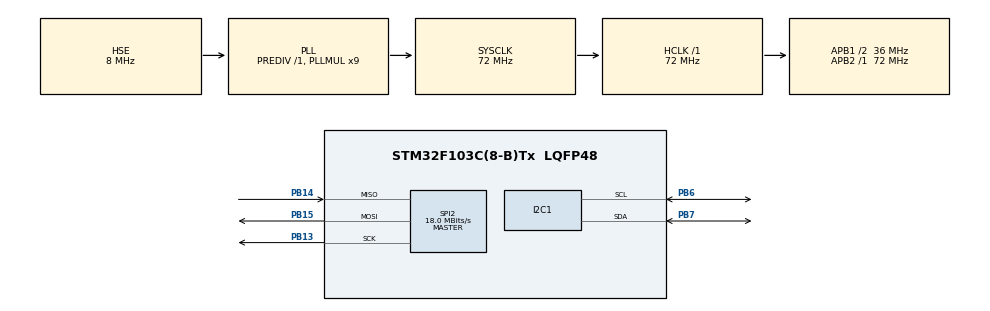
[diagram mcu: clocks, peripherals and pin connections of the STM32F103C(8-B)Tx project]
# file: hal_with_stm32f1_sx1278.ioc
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Mcu.Family=STM32F1
Mcu.Name=STM32F103C(8-B)Tx
Mcu.Package=LQFP48
NVIC.PriorityGroup=NVIC_PRIORITYGROUP_4
PB13.Mode=Full_Duplex_Master
PB13.Signal=SPI2_SCK
PB14.Mode=Full_Duplex_Master
PB14.Signal=SPI2_MISO
PB15.Mode=Full_Duplex_Master
PB15.Signal=SPI2_MOSI
PB6.Mode=I2C
PB6.Signal=I2C1_SCL
PB7.Mode=I2C
PB7.Signal=I2C1_SDA
PD0-OSC_IN.Mode=HSE-External-Oscillator
PD0-OSC_IN.Signal=RCC_OSC_IN
PD1-OSC_OUT.Mode=HSE-External-Oscillator
PD1-OSC_OUT.Signal=RCC_OSC_OUT
ProjectManager.HeapSize=0x200
ProjectManager.StackSize=0x400
ProjectManager.TargetToolchain=STM32CubeIDE
RCC.AHBFreq_Value=72000000
RCC.APB1CLKDivider=RCC_HCLK_DIV2
RCC.APB1Freq_Value=36000000
RCC.APB1TimFreq_Value=72000000
RCC.APB2Freq_Value=72000000
RCC.APB2TimFreq_Value=72000000
RCC.HCLKFreq_Value=72000000
RCC.PLLMUL=RCC_PLL_MUL9
RCC.PLLSourceVirtual=RCC_PLLSOURCE_HSE
RCC.SYSCLKFreq_VALUE=72000000
RCC.SYSCLKSource=RCC_SYSCLKSOURCE_PLLCLK
RCC.USBFreq_Value=72000000
SPI2.CalculateBaudRate=18.0 MBits/s
SPI2.Direction=SPI_DIRECTION_2LINES
SPI2.Mode=SPI_MODE_MASTER
SPI2.VirtualType=VM_MASTER
VP_SYS_VS_ND.Mode=No_Debug
board=custom

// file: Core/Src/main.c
/* USER CODE BEGIN Header */
/**
  ******************************************************************************
  * @file           : main.c
  * @brief          : Main program body
  ******************************************************************************
  * @attention
  *
  * Copyright (c) 2024 STMicroelectronics.
  * All rights reserved.
  *
  * This software is licensed under terms that can be found in the LICENSE file
  * in the root directory of this software component.
  * If no LICENSE file comes with this software, it is provided AS-IS.
  *
  ******************************************************************************
  */
/* USER CODE END Header */
#include "main.h"

/* USER CODE BEGIN Includes */
#include "gpio.h"
#include "SX1278_HW.h"
#include "sx1278.h"
#include <stdio.h>
#include "send.h"
#include "mpu6050.h"
#include "MadgwickAHRS.h"
#include <math.h>

/* USER CODE END Includes */

I2C_HandleTypeDef hi2c1;

SPI_HandleTypeDef hspi2;

void SystemClock_Config(void);

static void MX_SPI2_Init(void);
static void MX_I2C1_Init(void);

/* USER CODE BEGIN 0 */

SX1278_hw_t SX1278_hw;
SX1278_t SX1278;
extern float mpu6050_gf[3];
extern float mpu6050_af[3];

typedef struct
{

	int master;
	int ret;
	int message;

	int message_length;

	int messageTwo;
	int messageThree;

	char buffer[512];
	float Yaw_m,Pitch_m,Roll_m;

}Send;

Send sent;

/* USER CODE END 0 */

int main(void)
{

  /* MCU Configuration--------------------------------------------------------*/

  /* Reset of all peripherals, Initializes the Flash interface and the Systick. */
  HAL_Init();

  /* Configure the system clock */
  SystemClock_Config();

  /* Initialize all configured peripherals */
  MX_GPIO_Init();
  MX_SPI2_Init();
  MX_I2C1_Init();
  /* USER CODE BEGIN 2 */
  initUART1();

  char buf[512];

  HAL_Delay(5000);
  SendKyTu(buf, "Mode: Master");

  /*init lora module*/

  SX1278_hw.dio0.port = DIO0_GPIO_Port;
  SX1278_hw.dio0.pin=DIO0_Pin;
  SX1278_hw.nss.port=NSS_GPIO_Port;
  SX1278_hw.nss.pin=NSS_Pin;
  SX1278_hw.reset.port=RESET_GPIO_Port;
  SX1278_hw.reset.pin=RESET_Pin;
  SX1278_hw.spi= &hspi2;

  /*con tro tro den dia chi */

  SX1278.hw= &SX1278_hw;

  HAL_Delay(3000);
  SendKyTu(buf, "Configuring lora module");
  SX1278_init(&SX1278, 434000000, SX1278_POWER_17DBM, SX1278_LORA_SF_7,
  SX1278_LORA_BW_125KHZ, SX1278_LORA_CR_4_5, SX1278_LORA_CRC_EN, 10);

  HAL_Delay(3000);
  SendKyTu(buf, "Done configure lora module");

  sent.ret = SX1278_LoRaEntryTx(&SX1278, 16, 2000);
  sent.message=0;
  sent.messageTwo=0;
  sent.messageThree=0;
  mpu6050_init();

  /* USER CODE END 2 */

  /* Infinite loop */
  /* USER CODE BEGIN WHILE */
  while (1)
  {
	  mpu6050_getgyrodata();
	  mpu6050_getacceldata();
	  MadgwickAHRSupdateIMU(mpu6050_gf[0],mpu6050_gf[1],mpu6050_gf[2],mpu6050_af[0],mpu6050_af[1],mpu6050_af[2]);

	  sent.Pitch_m=100*(-asin (2*(q1*q3 - q0*q2)));
	  sent.Yaw_m=100* atan2(2 * q1 * q2 + 2 * q0 * q3,2 * q0 * q0 + 2 * q1 * q1-1);
	  sent.Roll_m=100*atan2(2 * q2 * q3 + 2 * q0 * q1, 2 * q0 * q0 + 2 * q3 * q3 - 1);

	  //SendKyTu(buf, "Mastering...");
	  HAL_Delay(100);
	  //SendKyTu(buf, "Sending packet...");
	  sent.message_length = sprintf(sent.buffer, "p %d y %d r %d", (int)sent.Pitch_m,(int)sent.Yaw_m,(int)sent.Roll_m);
	  sent.ret = SX1278_LoRaEntryTx(&SX1278, sent.message_length, 2000);

	  //sendNumberAndChu(buf, "entry: ", sent.ret);
	  //SendKyTu(buf, sent.buffer);
	  sent.ret = SX1278_LoRaTxPacket(&SX1278, (uint8_t*) sent.buffer,
	  					sent.message_length, 2000);
//	  sent.message+=1;
//	  sent.messageTwo+=1;
//	  sent.messageThree+=1;
	  //sendNumberAndChu(buf, "Transmission: ", sent.ret);
	  //SendKyTu(buf, "package sending...");

    /* USER CODE END WHILE */

  }
}

void SystemClock_Config(void)
{
  RCC_OscInitTypeDef RCC_OscInitStruct = {0};
  RCC_ClkInitTypeDef RCC_ClkInitStruct = {0};

  /** Initializes the RCC Oscillators according to the specified parameters
  * in the RCC_OscInitTypeDef structure.
  */
  RCC_OscInitStruct.OscillatorType = RCC_OSCILLATORTYPE_HSE;
  RCC_OscInitStruct.HSEState = RCC_HSE_ON;
  RCC_OscInitStruct.HSEPredivValue = RCC_HSE_PREDIV_DIV1;
  RCC_OscInitStruct.HSIState = RCC_HSI_ON;
  RCC_OscInitStruct.PLL.PLLState = RCC_PLL_ON;
  RCC_OscInitStruct.PLL.PLLSource = RCC_PLLSOURCE_HSE;
  RCC_OscInitStruct.PLL.PLLMUL = RCC_PLL_MUL9;
  if (HAL_RCC_OscConfig(&RCC_OscInitStruct) != HAL_OK)
  {
    Error_Handler();
  }

  /** Initializes the CPU, AHB and APB buses clocks
  */
  RCC_ClkInitStruct.ClockType = RCC_CLOCKTYPE_HCLK|RCC_CLOCKTYPE_SYSCLK
                              |RCC_CLOCKTYPE_PCLK1|RCC_CLOCKTYPE_PCLK2;
  RCC_ClkInitStruct.SYSCLKSource = RCC_SYSCLKSOURCE_PLLCLK;
  RCC_ClkInitStruct.AHBCLKDivider = RCC_SYSCLK_DIV1;
  RCC_ClkInitStruct.APB1CLKDivider = RCC_HCLK_DIV2;
  RCC_ClkInitStruct.APB2CLKDivider = RCC_HCLK_DIV1;

  if (HAL_RCC_ClockConfig(&RCC_ClkInitStruct, FLASH_LATENCY_2) != HAL_OK)
  {
    Error_Handler();
  }
}

static void MX_I2C1_Init(void)
{

  hi2c1.Instance = I2C1;
  hi2c1.Init.ClockSpeed = 100000;
  hi2c1.Init.DutyCycle = I2C_DUTYCYCLE_2;
  hi2c1.Init.OwnAddress1 = 0;
  hi2c1.Init.AddressingMode = I2C_ADDRESSINGMODE_7BIT;
  hi2c1.Init.DualAddressMode = I2C_DUALADDRESS_DISABLE;
  hi2c1.Init.OwnAddress2 = 0;
  hi2c1.Init.GeneralCallMode = I2C_GENERALCALL_DISABLE;
  hi2c1.Init.NoStretchMode = I2C_NOSTRETCH_DISABLE;
  if (HAL_I2C_Init(&hi2c1) != HAL_OK)
  {
    Error_Handler();
  }

}

static void MX_SPI2_Init(void)
{

  /* SPI2 parameter configuration*/
  hspi2.Instance = SPI2;
  hspi2.Init.Mode = SPI_MODE_MASTER;
  hspi2.Init.Direction = SPI_DIRECTION_2LINES;
  hspi2.Init.DataSize = SPI_DATASIZE_8BIT;
  hspi2.Init.CLKPolarity = SPI_POLARITY_LOW;
  hspi2.Init.CLKPhase = SPI_PHASE_1EDGE;
  hspi2.Init.NSS = SPI_NSS_SOFT;
  hspi2.Init.BaudRatePrescaler = SPI_BAUDRATEPRESCALER_2;
  hspi2.Init.FirstBit = SPI_FIRSTBIT_MSB;
  hspi2.Init.TIMode = SPI_TIMODE_DISABLE;
  hspi2.Init.CRCCalculation = SPI_CRCCALCULATION_DISABLE;
  hspi2.Init.CRCPolynomial = 10;
  if (HAL_SPI_Init(&hspi2) != HAL_OK)
  {
    Error_Handler();
  }

}

//static void MX_GPIO_Init(void)
//{
///* USER CODE BEGIN MX_GPIO_Init_1 */
///* USER CODE END MX_GPIO_Init_1 */
//
//  /* GPIO Ports Clock Enable */
//  __HAL_RCC_GPIOD_CLK_ENABLE();
//  __HAL_RCC_GPIOB_CLK_ENABLE();
//
///* USER CODE BEGIN MX_GPIO_Init_2 */
///* USER CODE END MX_GPIO_Init_2 */
//}

void Error_Handler(void)
{
  __disable_irq();
  while (1)
  {
  }
}
